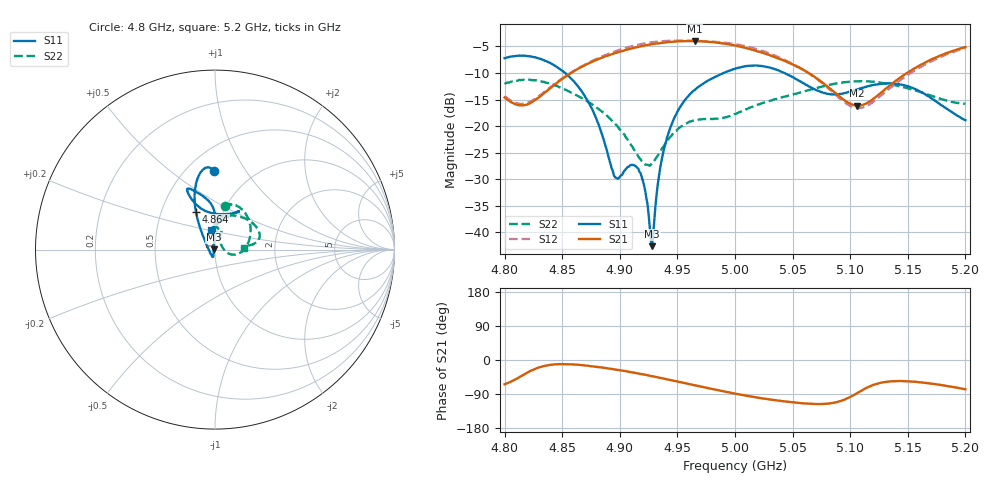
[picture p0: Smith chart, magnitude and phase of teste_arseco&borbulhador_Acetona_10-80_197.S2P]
! Network Analyzer HP8722D
! Hewlett-Packard
! Data name: Linha & Wilkinson
! Saver's name: Rodrigo Anjos
! Comments: Teste da utilização de aquisição
! continua pelo VNA HP8722D
! Time and date: 25/4/2025 16:54
!  Frequency  S11  S21  S12  S22
# HZ  S  MA R 50
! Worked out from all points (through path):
!   401 points, 4.8 GHz to 5.2 GHz, reference 50 ohm
!   highest |S21| = -3.99 dB at 4.965 GHz (marker M1); lowest = -16.2 dB at 5.106 GHz (marker M2)
!   lowest |S11| = -42.6 dB at 4.928 GHz (marker M3), VSWR 1.01, Z = 49.3 + j0.0555 ohm
!   |S11| at or under -10 dB: 4.853 GHz to 4.99 GHz (137.7 MHz wide, 2.8 % of centre); 5.043 GHz to end of sweep
!   |S22| runs from -27.5 to -11.3 dB; largest |S21 - S12| = 1.2
!   S11 on the Smith chart (normalised r, x): 4.8 GHz: 0.67, +0.72; 4.864 GHz: 0.75, +0.33; 5.2 GHz: 0.94, +0.21
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4.8e9  0.4354 91.0  0.1858 -64.2  0.1913 69.4  0.249 77.4
4.82e9  0.4545 97.4  0.1605 -32.6  0.1662 98.1  0.272 61.7
4.843e9  0.3746 106.6  0.2437 -11.8  0.2476 118.9  0.2441 37.2
4.864e9  0.2347 116.9  0.3478 -12.6  0.3512 121.2  0.1907 12.5
4.867e9  0.2116 118.5  0.3613 -13.7  0.3656 120.8  0.1839 9.2
4.88e9  0.1145 128.6  0.4211 -18.2  0.4312 118.5  0.1491 -4.7
4.896e9  0.03298 -170.5  0.4866 -25.2  0.505 113.3  0.1052 -15.2
4.91e9  0.04316 -108.2  0.5371 -32.1  0.5623 107.3  0.06585 -13.1
4.917e9  0.03726 -104.3  0.5585 -36.1  0.5871 103.7  0.05007 -0.7
4.922e9  0.02481 -109.7  0.5749 -38.9  0.6012 101.0  0.04342 15.4
4.928e9  0.007416 175.6  0.5902 -42.8  0.6156 97.3  0.04509 39.5
4.934e9  0.0338 99.6  0.6014 -46.5  0.6277 93.4  0.05534 57.5
4.939e9  0.06465 93.6  0.6131 -49.6  0.6332 90.2  0.06704 65.1
4.946e9  0.1109 90.4  0.6212 -54.2  0.6372 86.0  0.08473 69.3
4.965e9  0.219 91.3  0.6317 -66.8  0.6362 73.8  0.1138 71.0
5e9  0.347 109.4  0.5736 -88.8  0.5922 51.0  0.1301 88.2
5.031e9  0.3532 115.3  0.4604 -104.4  0.477 33.5  0.1739 84.8
5.067e9  0.2282 105.8  0.301 -115.9  0.2988 23.6  0.222 57.4
5.106e9  0.2208 65.5  0.1554 -87.4  0.1477 55.6  0.2638 25.0
5.134e9  0.2521 57.9  0.2395 -56.6  0.2249 88.7  0.2486 12.5
5.17e9  0.1843 71.4  0.4205 -62.2  0.4045 84.6  0.194 7.0
5.2e9  0.1136 100.6  0.5532 -77.4  0.5424 70.4  0.1622 3.9
